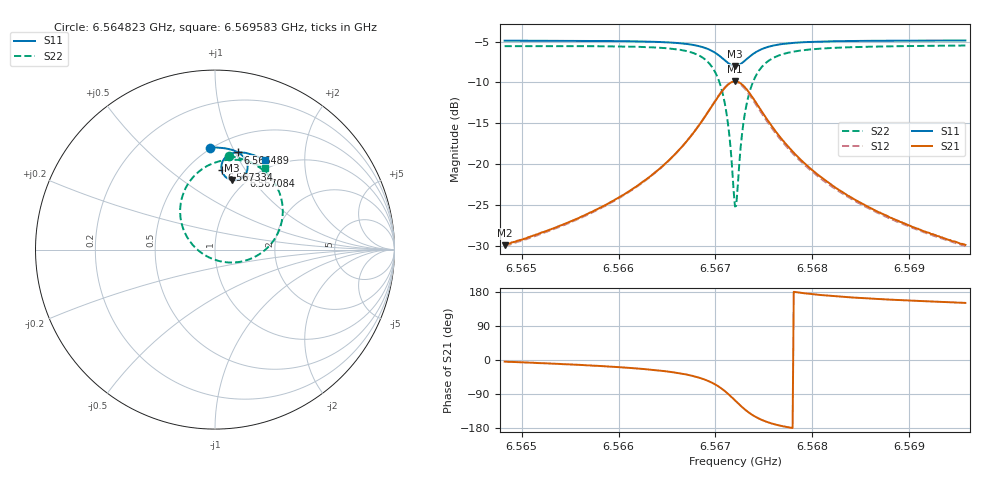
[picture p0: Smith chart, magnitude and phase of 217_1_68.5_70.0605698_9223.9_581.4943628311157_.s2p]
#  HZ  S  RI  R  50.00
! Rohde & Schwarz Vector Network Analyzer
! Rohde-Schwarz,ZNB20-2Port,1311601062101988,3.16
! Created: UTC 3/20/2024, 5:13:23 PM
! freq[Hz]  re:S11  im:S11  re:S21  im:S21  re:S12  im:S12  re:S22  im:S22
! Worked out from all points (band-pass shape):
!   401 points, 6.564823 GHz to 6.569583 GHz, reference 50 ohm
!   highest |S21| = -9.88 dB at 6.567203 GHz (marker M1); lowest = -29.9 dB at 6.564823 GHz (marker M2)
!   |S21| within 3 dB of the highest: 6.566966 GHz to 6.567442 GHz (475.9 kHz wide, 0.00725 % of centre)
!   lowest |S11| = -8.0 dB at 6.567203 GHz (marker M3), VSWR 2.32, Z = 43.2 + j39.8 ohm
!   |S11| at or under -10 dB: nowhere
!   |S22| runs from -25.2 to -5.5 dB; largest |S21 - S12| = 0.016
!   S11 on the Smith chart (normalised r, x): 6.564823 GHz: 0.49, +0.83; 6.566489 GHz: 0.66, +1.03; 6.567084 GHz: 0.93, +0.94; 6.567334 GHz: 0.71, +0.79; 6.569583 GHz: 0.88, +1.30
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6.564823e9  -0.0265 0.5685  0.0318 -0.00232  0.0313 -0.00289  0.0758 0.5213
6.5656203e9  0.0408 0.5663  0.0465 -0.0108  0.0456 -0.0115  0.157 0.5027
6.5660605e9  0.0819 0.559  0.0614 -0.0223  0.0606 -0.0229  0.2147 0.4781
6.5664175e9  0.1202 0.5456  0.0822 -0.0432  0.0812 -0.0442  0.2771 0.4348
6.5664889e9  0.1286 0.5412  0.088 -0.0504  0.0866 -0.0514  0.2923 0.4204
6.5667269e9  0.1593 0.517  0.1101 -0.0917  0.1084 -0.0935  0.349 0.3399
6.5669054e9  0.1798 0.4781  0.1197 -0.16  0.1166 -0.1635  0.3777 0.2079
6.5670125e9  0.1786 0.4384  0.0992 -0.2293  0.0926 -0.2339  0.3422 0.0761
6.5670839e9  0.1608 0.408  0.0537 -0.2811  0.0431 -0.2846  0.2567 -0.0197
6.5671315e9  0.1379 0.3919  0.00333 -0.3066  -0.0102 -0.3072  0.1626 -0.0632
6.567191e9  0.0999 0.386  -0.0753 -0.3111  -0.09 -0.3055  0.0197 -0.063
6.5672029e9  0.0919 0.3875  -0.0914 -0.3072  -0.1058 -0.3002  -0.00859 -0.0543
6.5672267e9  0.0769 0.3928  -0.1219 -0.2949  -0.1352 -0.2854  -0.0612 -0.0281
6.5672862e9  0.0481 0.4176  -0.1801 -0.2435  -0.1883 -0.2302  -0.1562 0.0711
6.5673338e9  0.0372 0.4425  -0.2039 -0.1942  -0.2074 -0.1804  -0.1894 0.1612
6.567429e9  0.0405 0.4864  -0.2057 -0.1096  -0.2037 -0.0991  -0.1779 0.3085
6.5675718e9  0.0679 0.5224  -0.1696 -0.0399  -0.1659 -0.0342  -0.1005 0.4253
6.5677384e9  0.0999 0.5379  -0.1303 -0.00709  -0.127 -0.00387  -0.0191 0.4776
6.5680001e9  0.1389 0.5422  -0.0913 0.0102  -0.089 0.0115  0.0673 0.4996
6.5683452e9  0.1778 0.5372  -0.0635 0.0156  -0.062 0.0163  0.1385 0.4988
6.5687974e9  0.219 0.5251  -0.0443 0.0167  -0.0432 0.0169  0.2005 0.4855
6.5695828e9  0.2794 0.4977  -0.0279 0.0157  -0.0271 0.0158  0.2763 0.4537
